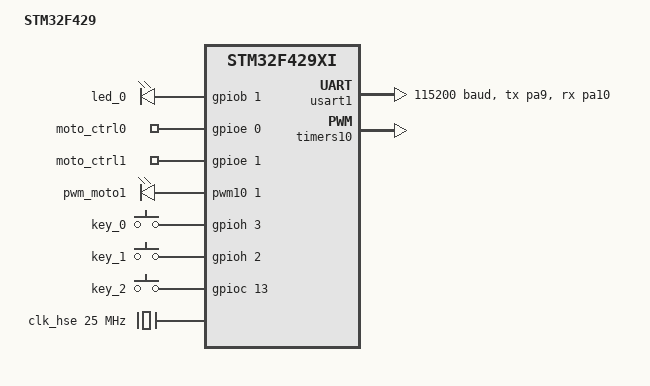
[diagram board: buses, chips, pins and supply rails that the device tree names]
/dts-v1/;
#include <st/f4/stm32f429Xi.dtsi>
#include <st/f4/stm32f429i(e-g)tx-pinctrl.dtsi>

/ {
	model = "STM32F429";
	compatible = "O2C14,F429";

	chosen {
		zephyr,console = &usart1;
		zephyr,shell-uart = &usart1;
		zephyr,sram = &sram0;
		zephyr,flash = &flash0;
		zephyr,code-partition = &slot0_partition;
	};

	leds: leds {
		compatible = "gpio-leds";
		led_0: led_0 {
			gpios = <&gpiob 1 GPIO_ACTIVE_HIGH>;
		};
		moto_ctrl0: moto_ctrl0 {
			gpios = <&gpioe 0 GPIO_ACTIVE_HIGH>;
		};
		moto_ctrl1: moto_ctrl1 {
			gpios = <&gpioe 1 GPIO_ACTIVE_HIGH>;
		};
	};
	
	pwm_motos: pwm_motos {
		compatible = "pwm-leds";
		pwm_moto1:pwm_moto1{
			pwms = <&pwm10 1 PWM_MSEC(20) PWM_POLARITY_NORMAL>;
		};
	};

	gpio_keys {
		compatible = "gpio-keys";
		key_0: key_0 {
			gpios = <&gpioh 3 GPIO_ACTIVE_HIGH>;
		};
		key_1: key_1 {
			gpios = <&gpioh 2 GPIO_ACTIVE_HIGH>;
		};
		key_2: key_2 {
			gpios = <&gpioc 13 GPIO_ACTIVE_HIGH>;
		};
	};

	aliases {
		led0 = &led_0;
		sw0 = &key_0;
		sw1 = &key_1;
		sw2 = &key_2;
		moto-in3 = &moto_ctrl0;
		moto-in4 = &moto_ctrl1;
		pwm-moto = &pwm_moto1;
	};
};

&clk_lsi {
	status = "okay";
};

&clk_hse {
	// hse-bypass;
	clock-frequency = <DT_FREQ_M(25)>;
	status = "okay";
};

&pll {
	div-m = <25>;
	mul-n = <336>;
	div-p = <2>;// rcc
	div-q = <7>;
	clocks = <&clk_hse>;
	status = "okay";
};

&rcc {
	clocks = <&pll>;
	clock-frequency = <DT_FREQ_M(168)>; /* highest value to get a precise USB clock */
	ahb-prescaler = <1>;
	apb1-prescaler = <4>;
	apb2-prescaler = <2>;
};

&usart1 {
	pinctrl-0 = <&usart1_tx_pa9 &usart1_rx_pa10>;
	pinctrl-names = "default";
	current-speed = <115200>;
	status = "okay";
};

&timers10 {
	st,prescaler = <10000>;// 8.4k
	status = "okay";

	pwm10: pwm {
		status = "okay";
		pinctrl-0 = <&tim10_ch1_pf6>;
		pinctrl-names = "default";
	};
};

&sram0 {
	reg = <0x20000000 DT_SIZE_K(256)>;
};

&flash0 {
	reg = <0x08000000 DT_SIZE_K(1024)>;
	partitions {
		compatible = "fixed-partitions";
		#address-cells = <1>;
		#size-cells = <1>;

		/* 32KB for bootloader */
		boot_partition: partition@0 {
			label = "mcuboot";
			reg = <0x00000000 DT_SIZE_K(32)>;
			read-only;
		};

		/*
		 * nvs subsystem requires 2 sectors with a max total of 32K
		 * On F4 series, the only option is to use the following
		 * partition, which is compatible with mcuboot usage.
		 * Keep it commented in order it is not used by CI.
		 *
		 * storage_partition: partition@8000 {
			 *    label = "storage";
			 *    reg = <0x0008000 DT_SIZE_K(32)>;
		 * };
		 */

		/* application image slot: 256KB */
		slot0_partition: partition@20000 {
			label = "image-0";
			reg = <0x00020000 DT_SIZE_K(256)>;
		};

		/* backup slot: 256KB */
		slot1_partition: partition@60000 {
			label = "image-1";
			reg = <0x00060000 DT_SIZE_K(256)>;
		};

		/* swap slot: 128KB */
		scratch_partition: partition@a0000 {
			label = "image-scratch";
			reg = <0x000a0000 DT_SIZE_K(128)>;
		};

	};
};
